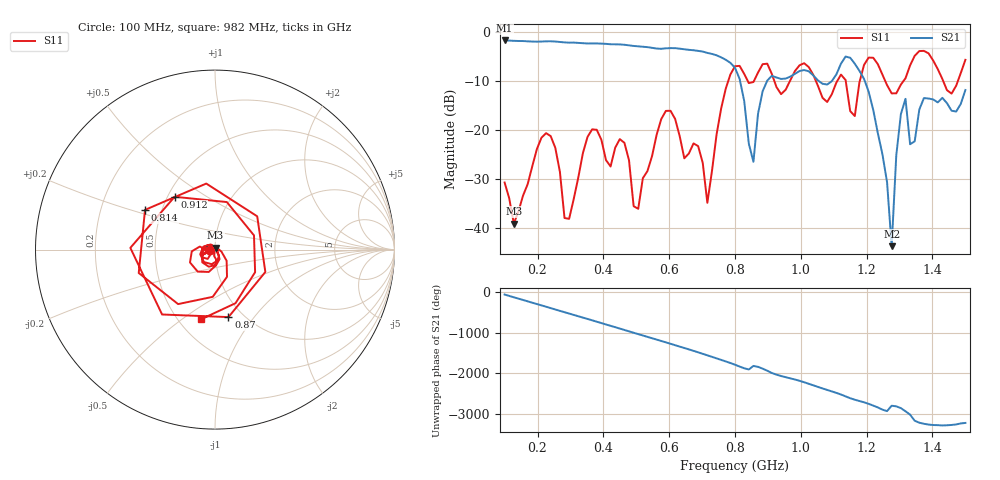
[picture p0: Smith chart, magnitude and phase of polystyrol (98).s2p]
! NanoVNA-App
! Date: 2025-09-25 15:30:39
! Start: 100MHz Stop: 1,5GHz Points: 101
! S-Parameter data: F S11 S21 S12 S22
# Hz S RI R 50
!  Frequency  S11_Real  S11_Imag  S21_Real  S21_Imag  S12_Real  S12_Imag  S22_Real  S22_Imag
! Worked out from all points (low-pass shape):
!   101 points, 100 MHz to 1.5 GHz, reference 50 ohm
!   highest |S21| = -1.80 dB at 100 MHz (marker M1); lowest = -43.7 dB at 1.276 GHz (marker M2)
!   |S21| within 3 dB of the highest: start of sweep to 742.9 MHz
!   lowest |S11| = -39.0 dB at 128 MHz (marker M3), VSWR 1.02, Z = 50.3 + j1.07 ohm
!   |S11| at or under -10 dB: start of sweep to 779.7 MHz; 1.045 GHz to 1.111 GHz (65.68 MHz wide, 6.09 % of centre); 1.256 GHz to 1.313 GHz (56.38 MHz wide, 4.39 % of centre) (the widest 3 of 7)
!   S12 and S22 are empty: the file has one direction only
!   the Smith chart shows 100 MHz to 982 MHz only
!   S11 on the Smith chart (normalised r, x): 100 MHz: 0.94, -0.01; 814 MHz: 0.40, +0.22; 870 MHz: 0.86, -0.75; 912 MHz: 0.54, +0.37; 982 MHz: 0.64, -0.59
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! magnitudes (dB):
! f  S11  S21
! 100 MHz  -30.7  -1.8
! 128 MHz  -39.0  -1.9
! 212 MHz  -21.6  -2.0
! 282 MHz  -37.9  -2.2
! 338 MHz  -24.7  -2.4
! 464 MHz  -22.6  -2.7
! 506 MHz  -36.0  -3.0
! 576 MHz  -17.8  -3.5
! 716 MHz  -34.8  -4.3
! 800 MHz  -7.0  -7.4
! 814 MHz  -7.0  -9.6
! 856 MHz  -10.3  -26.5
! 870 MHz  -8.3  -16.7
! 912 MHz  -8.6  -9.0
! 982 MHz  -8.0  -8.6
! 1.038 GHz  -8.8  -8.9
! 1.164 GHz  -17.2  -6.5
! 1.192 GHz  -6.8  -9.6
! 1.276 GHz  -12.6  -43.7
! 1.318 GHz  -9.5  -13.7
! 1.332 GHz  -6.9  -22.9
! 1.5 GHz  -5.7  -11.9
